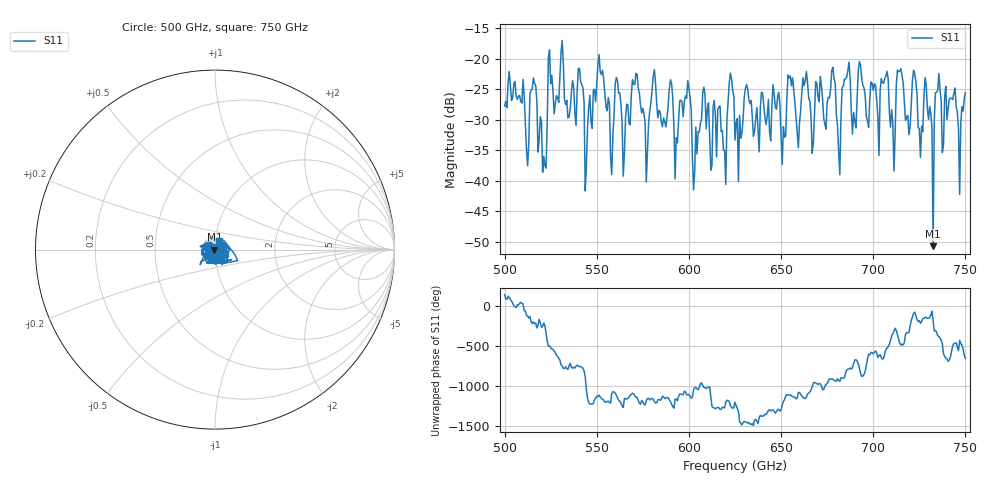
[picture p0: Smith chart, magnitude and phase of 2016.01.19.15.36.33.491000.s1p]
!Created with skrf (http://scikit-rf.org).
# GHz S RI R 50.0
!freq ReS11 ImS11
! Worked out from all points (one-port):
!   401 points, 500 GHz to 750 GHz, reference 50 ohm
!   lowest |S11| = -50.7 dB at 732.5 GHz (marker M1), VSWR 1.01, Z = 49.7 + j0.00435 ohm
!   |S11| at or under -10 dB: start of sweep to end of sweep
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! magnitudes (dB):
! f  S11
! 500 GHz  -27.8
! 512.5 GHz  -37.5
! 515.6 GHz  -23.2
! 521.9 GHz  -37.6
! 525 GHz  -24.1
! 531.2 GHz  -17.0
! 541.2 GHz  -23.7
! 544.4 GHz  -37.5
! 551.9 GHz  -22.1
! 558.1 GHz  -39.0
! 562.5 GHz  -25.6
! 590 GHz  -23.5
! 593.8 GHz  -33.8
! 625 GHz  -33.3
! 651.2 GHz  -31.1
! 656.2 GHz  -23.2
! 666.9 GHz  -35.5
! 678.1 GHz  -21.4
! 681.2 GHz  -35.3
! 687.5 GHz  -23.4
! 706.9 GHz  -22.8
! 710.6 GHz  -30.5
! 714.4 GHz  -22.0
! 718.8 GHz  -29.3
! 722.5 GHz  -22.4
! 732.5 GHz  -50.7
! 735 GHz  -25.2
! 750 GHz  -25.6
